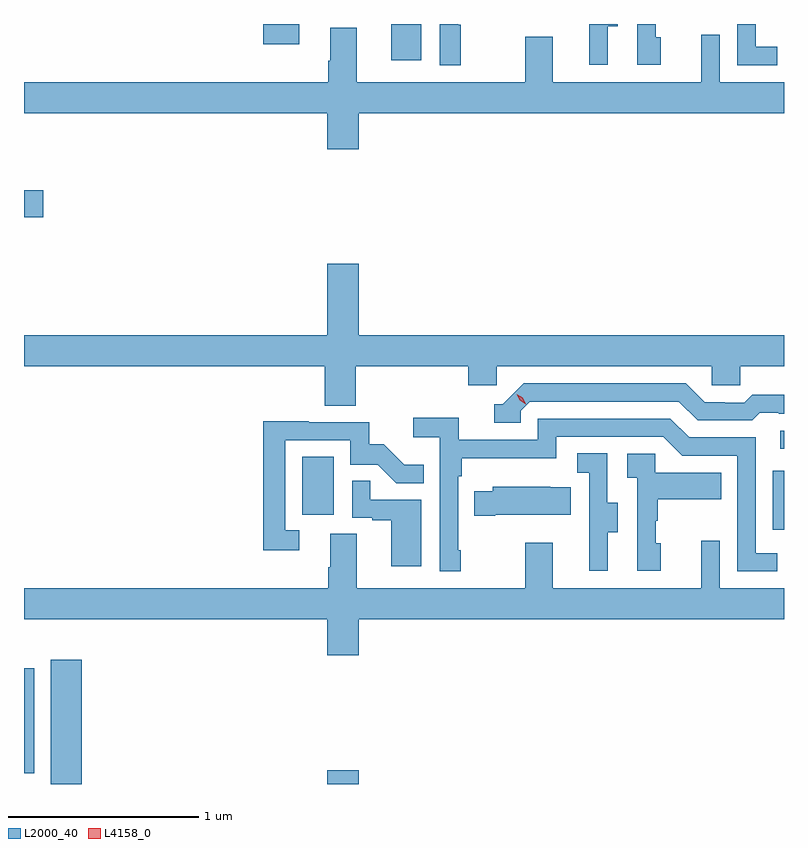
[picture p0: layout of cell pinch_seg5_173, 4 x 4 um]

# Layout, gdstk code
import gdstk
lib = gdstk.Library(unit=1e-6, precision=1e-09)
def R(c, l, rs):  # rectangles x0, y0, x1, y1
    for r in rs: c.add(gdstk.rectangle(r[:2], r[2:], *l))
def P(c, l, *ps):  # polygons
    for p in ps: c.add(gdstk.Polygon(p, *l))
L2000_40 = (2000, 40)
L4158_0 = (4158, 0)

pinch_seg5_173 = lib.new_cell('pinch_seg5_173')
R(pinch_seg5_173, L2000_40, [(1140.575,879.87,1140.736,880.525), (1142.03,879.87,1142.194,879.943), (1140.433,879.927,1140.486,880.478), (1144.374,881.208,1144.433,881.518), (1141.898,881.286,1142.062,881.593), (1144.413,881.634,1144.433,881.73), (1140.433,882.854,1140.535,882.996), (1142.366,883.68,1142.524,883.87)])
P(pinch_seg5_173, L2000_40, [(1143.784,883.8),(1143.759,883.8),(1143.759,883.87),(1143.66,883.87),(1143.66,883.656),(1143.784,883.656)],
  [(1144.397,883.749),(1144.284,883.749),(1144.284,883.87),(1144.188,883.87),(1144.188,883.653),(1144.397,883.653)],
  [(1142.731,883.865),(1142.719,883.865),(1142.719,883.87),(1142.622,883.87),(1142.622,883.653),(1142.731,883.653)],
  [(1143.505,883.858),(1143.559,883.858),(1143.559,883.87),(1143.408,883.87),(1143.408,883.869),(1143.407,883.869),(1143.407,883.656),(1143.505,883.656)],
  [(1141.882,883.869),(1141.809,883.869),(1141.809,883.87),(1141.693,883.87),(1141.693,883.764),(1141.882,883.764)],
  [(1142.194,883.4),(1144.433,883.4),(1144.433,883.564),(1144.095,883.564),(1144.095,883.813),(1143.998,883.813),(1143.998,883.564),(1143.217,883.564),(1143.217,883.804),(1143.07,883.804),(1143.07,883.564),(1142.185,883.564),(1142.185,883.85),(1142.045,883.85),(1142.045,883.676),(1142.033,883.676),(1142.033,883.564),(1140.433,883.564),(1140.433,883.4),(1142.03,883.4),(1142.03,883.212),(1142.194,883.212)],
  [(1142.18,882.068),(1142.771,882.068),(1142.771,881.97),(1142.922,881.97),(1142.922,882.068),(1144.053,882.068),(1144.053,881.97),(1144.203,881.97),(1144.203,882.068),(1144.433,882.068),(1144.433,882.232),(1142.194,882.232),(1142.194,882.607),(1142.03,882.607),(1142.03,882.232),(1140.433,882.232),(1140.433,882.068),(1142.015,882.068),(1142.015,881.86),(1142.18,881.86)],
  [(1143.048,881.835),(1143.096,881.883),(1143.879,881.883),(1143.978,881.784),(1144.267,881.784),(1144.306,881.823),(1144.405,881.823),(1144.405,881.82),(1144.433,881.82),(1144.433,881.92),(1144.267,881.92),(1144.225,881.877),(1144.122,881.877),(1144.122,881.88),(1144.015,881.88),(1143.916,881.979),(1143.063,881.979),(1142.952,881.868),(1142.909,881.868),(1142.909,881.772),(1143.048,881.772)],
  [(1142.731,881.101),(1142.718,881.101),(1142.718,881.489),(1142.738,881.489),(1142.738,881.585),(1143.234,881.585),(1143.234,881.697),(1143.798,881.697),(1143.897,881.598),(1144.188,881.598),(1144.188,880.989),(1144.397,880.989),(1144.397,881.085),(1144.284,881.085),(1144.284,881.694),(1143.934,881.694),(1143.835,881.793),(1143.138,881.793),(1143.138,881.682),(1142.72,881.682),(1142.72,881.798),(1142.481,881.798),(1142.481,881.696),(1142.622,881.696),(1142.622,880.989),(1142.731,880.989)],
  [(1141.882,881.205),(1141.809,881.205),(1141.809,881.679),(1142.151,881.679),(1142.151,881.55),(1142.295,881.55),(1142.393,881.452),(1142.537,881.452),(1142.537,881.551),(1142.433,881.551),(1142.326,881.658),(1142.25,881.658),(1142.25,881.775),(1141.931,881.775),(1141.931,881.78),(1141.693,881.78),(1141.693,881.1),(1141.882,881.1)],
  [(1143.505,881.194),(1143.559,881.194),(1143.559,881.349),(1143.504,881.349),(1143.504,881.612),(1143.345,881.612),(1143.345,881.509),(1143.408,881.509),(1143.408,881.205),(1143.407,881.205),(1143.407,880.992),(1143.505,880.992)],
  [(1143.784,881.136),(1143.759,881.136),(1143.759,881.255),(1143.769,881.255),(1143.769,881.369),(1144.103,881.369),(1144.103,881.509),(1143.756,881.509),(1143.756,881.607),(1143.609,881.607),(1143.609,881.483),(1143.66,881.483),(1143.66,880.992),(1143.784,880.992)],
  [(1142.524,881.367),(1142.255,881.367),(1142.255,881.465),(1142.16,881.465),(1142.16,881.271),(1142.267,881.271),(1142.267,881.259),(1142.366,881.259),(1142.366,881.016),(1142.524,881.016)],
  [(1142.914,881.288),(1143.311,881.288),(1143.311,881.431),(1143.203,881.431),(1143.203,881.434),(1142.901,881.434),(1142.901,881.41),(1142.803,881.41),(1142.803,881.281),(1142.914,881.281)],
  [(1142.194,880.736),(1144.433,880.736),(1144.433,880.9),(1144.095,880.9),(1144.095,881.149),(1143.998,881.149),(1143.998,880.9),(1143.217,880.9),(1143.217,881.14),(1143.07,881.14),(1143.07,880.9),(1142.185,880.9),(1142.185,881.186),(1142.045,881.186),(1142.045,881.012),(1142.033,881.012),(1142.033,880.9),(1140.433,880.9),(1140.433,880.736),(1142.03,880.736),(1142.03,880.548),(1142.194,880.548)])
P(pinch_seg5_173, L4158_0, [(1143.073,881.87),(1143.042,881.889),(1143.026,881.922),(1143.026,881.922),(1143.026,881.922),(1143.057,881.903),(1143.073,881.87),(1143.073,881.87)])

lib.write_gds('pinch_seg5_173.gds')
